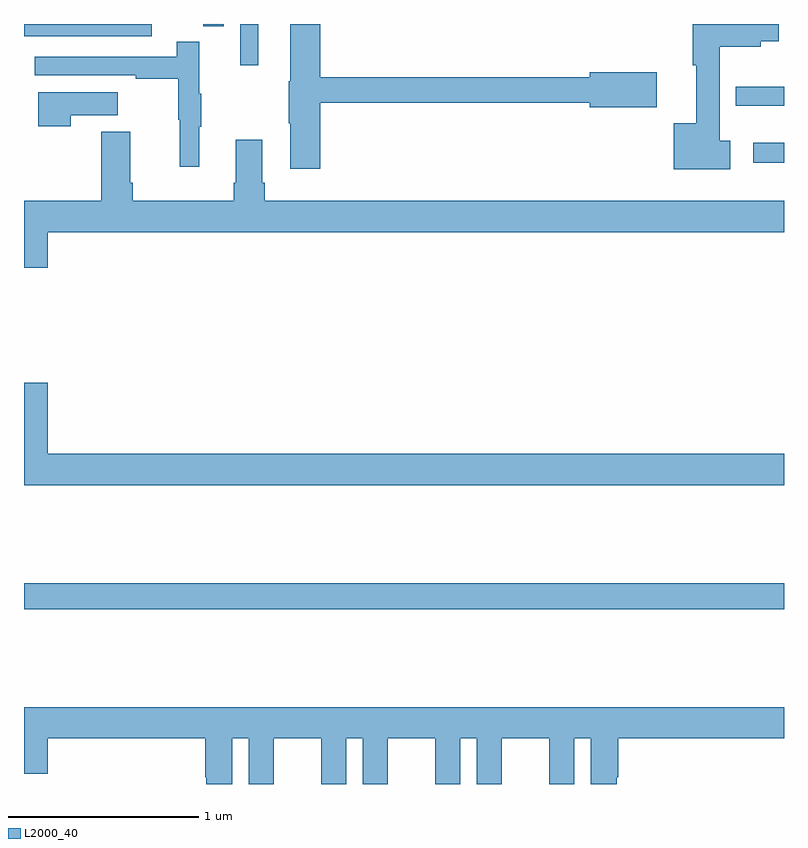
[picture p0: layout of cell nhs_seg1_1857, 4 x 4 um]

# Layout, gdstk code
import gdstk
lib = gdstk.Library(unit=1e-6, precision=1e-09)
def R(c, l, rs):  # rectangles x0, y0, x1, y1
    for r in rs: c.add(gdstk.rectangle(r[:2], r[2:], *l))
def P(c, l, *ps):  # polygons
    for p in ps: c.add(gdstk.Polygon(p, *l))
L2000_40 = (2000, 40)

nhs_seg1_1857 = lib.new_cell('nhs_seg1_1857')
R(nhs_seg1_1857, L2000_40, [(213,511.12,217,511.256), (216.837,513.47,217,513.574), (216.746,513.77,217,513.869), (214.137,513.981,214.234,514.199), (213,514.134,213.672,514.199), (213.944,514.186,214.052,514.199)])
P(nhs_seg1_1857, L2000_40, [(216.718,513.584),(216.661,513.584),(216.661,514.079),(216.877,514.079),(216.877,514.109),(216.972,514.109),(216.972,514.199),(216.521,514.199),(216.521,513.983),(216.539,513.983),(216.539,513.676),(216.419,513.676),(216.419,513.434),(216.718,513.434)],
  [(214.559,513.784),(215.978,513.784),(215.978,513.761),(216.331,513.761),(216.331,513.944),(215.978,513.944),(215.978,513.92),(214.559,513.92),(214.559,514.199),(214.4,514.199),(214.4,513.897),(214.393,513.897),(214.393,513.676),(214.4,513.676),(214.4,513.438),(214.559,513.438)],
  [(213.923,513.659),(213.934,513.659),(213.934,513.833),(213.923,513.833),(213.923,514.105),(213.805,514.105),(213.805,514.026),(213.057,514.026),(213.057,513.93),(213.589,513.93),(213.589,513.91),(213.813,513.91),(213.813,513.696),(213.82,513.696),(213.82,513.447),(213.923,513.447)],
  [(213.245,513.719),(213.493,513.719),(213.493,513.841),(213.074,513.841),(213.074,513.66),(213.245,513.66)],
  [(217,513.268),(214.268,513.268),(214.268,513.364),(214.255,513.364),(214.255,513.589),(214.115,513.589),(214.115,513.364),(214.103,513.364),(214.103,513.268),(213.572,513.268),(213.572,513.364),(213.559,513.364),(213.559,513.631),(213.407,513.631),(213.407,513.268),(213,513.268),(213,512.916),(213.124,512.916),(213.124,513.104),(217,513.104)],
  [(217,511.936),(213.124,511.936),(213.124,512.311),(213,512.311),(213,511.772),(217,511.772)],
  [(213,510.252),(213.124,510.252),(213.124,510.44),(213.953,510.44),(213.953,510.235),(213.959,510.235),(213.959,510.199),(214.096,510.199),(214.096,510.44),(214.184,510.44),(214.184,510.199),(214.315,510.199),(214.315,510.44),(214.565,510.44),(214.565,510.199),(214.696,510.199),(214.696,510.44),(214.784,510.44),(214.784,510.199),(214.915,510.199),(214.915,510.44),(215.165,510.44),(215.165,510.199),(215.296,510.199),(215.296,510.44),(215.384,510.44),(215.384,510.199),(215.515,510.199),(215.515,510.44),(215.765,510.44),(215.765,510.199),(215.896,510.199),(215.896,510.44),(215.984,510.44),(215.984,510.199),(216.121,510.199),(216.121,510.235),(216.128,510.235),(216.128,510.44),(217,510.44),(217,510.604),(213,510.604)])

lib.write_gds('nhs_seg1_1857.gds')
